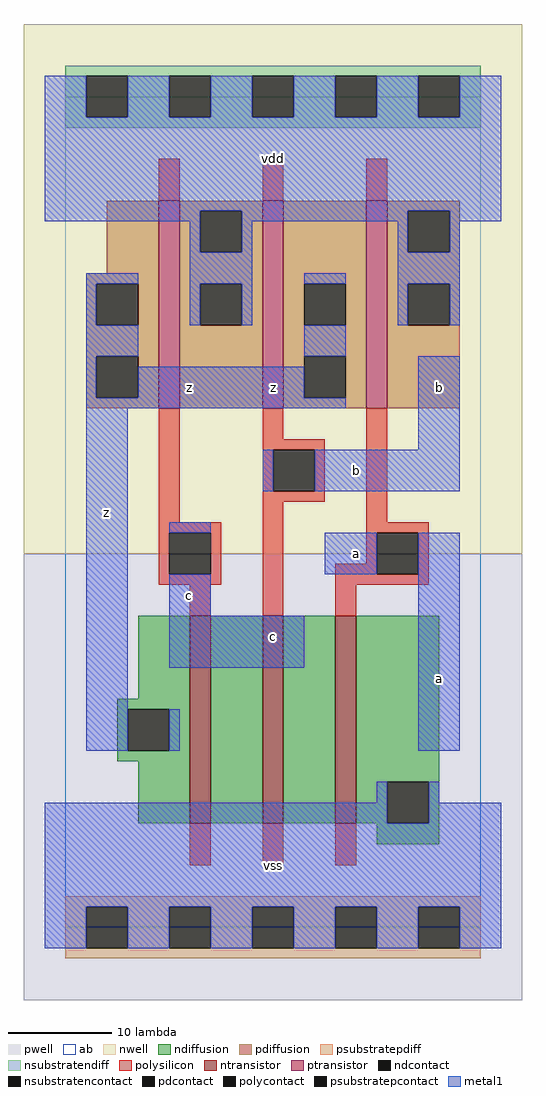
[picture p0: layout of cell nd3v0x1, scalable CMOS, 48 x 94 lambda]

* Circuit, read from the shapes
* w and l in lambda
.subckt nd3v0x1 a b c vdd vss z
M1 n1 c z vss nfet w=20 l=2
M2 n2 b n1 vss nfet w=20 l=2
M3 vss a n2 vss nfet w=20 l=2
M4 vdd c z vdd pfet w=20 l=2
M5 z b vdd vdd pfet w=20 l=2
M6 vdd a z vdd pfet w=20 l=2
.ends

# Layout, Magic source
magic
tech scmos
<< ab >>
rect 0 0 40 80
<< pwell >>
rect -4 -7 44 36
<< nwell >>
rect -4 36 44 87
<< polysilicon >>
rect 9 70 11 74
rect 19 70 21 74
rect 29 70 31 74
rect 9 39 11 50
rect 19 47 21 50
rect 19 46 25 47
rect 19 42 20 46
rect 24 42 25 46
rect 19 41 25 42
rect 9 38 15 39
rect 9 34 10 38
rect 14 34 15 38
rect 9 33 15 34
rect 12 30 14 33
rect 19 30 21 41
rect 29 39 31 50
rect 29 38 35 39
rect 29 35 30 38
rect 26 34 30 35
rect 34 34 35 38
rect 26 33 35 34
rect 26 30 28 33
rect 12 6 14 10
rect 19 6 21 10
rect 26 6 28 10
<< ndiffusion >>
rect 7 22 12 30
rect 5 21 12 22
rect 5 17 6 21
rect 10 17 12 21
rect 5 16 12 17
rect 7 10 12 16
rect 14 10 19 30
rect 21 10 26 30
rect 28 14 36 30
rect 28 10 31 14
rect 35 10 36 14
rect 30 8 36 10
<< pdiffusion >>
rect 4 63 9 70
rect 2 62 9 63
rect 2 58 3 62
rect 7 58 9 62
rect 2 55 9 58
rect 2 51 3 55
rect 7 51 9 55
rect 2 50 9 51
rect 11 69 19 70
rect 11 65 13 69
rect 17 65 19 69
rect 11 62 19 65
rect 11 58 13 62
rect 17 58 19 62
rect 11 50 19 58
rect 21 62 29 70
rect 21 58 23 62
rect 27 58 29 62
rect 21 55 29 58
rect 21 51 23 55
rect 27 51 29 55
rect 21 50 29 51
rect 31 69 38 70
rect 31 65 33 69
rect 37 65 38 69
rect 31 62 38 65
rect 31 58 33 62
rect 37 58 38 62
rect 31 50 38 58
<< metal1 >>
rect -2 78 2 82
rect 6 78 10 82
rect 14 78 18 82
rect 22 78 26 82
rect 30 78 34 82
rect 38 78 42 82
rect -2 69 42 78
rect -2 68 13 69
rect 12 65 13 68
rect 17 68 33 69
rect 17 65 18 68
rect 2 62 7 63
rect 2 58 3 62
rect 12 62 18 65
rect 32 65 33 68
rect 37 68 42 69
rect 37 65 38 68
rect 12 58 13 62
rect 17 58 18 62
rect 23 62 27 63
rect 32 62 38 65
rect 32 58 33 62
rect 37 58 38 62
rect 2 55 7 58
rect 2 51 3 55
rect 23 55 27 58
rect 7 51 23 54
rect 2 50 27 51
rect 2 17 6 50
rect 34 46 38 55
rect 19 42 20 46
rect 24 42 38 46
rect 10 38 14 39
rect 25 34 30 38
rect 10 30 14 34
rect 10 25 23 30
rect 10 17 11 21
rect 34 17 38 38
rect 30 12 31 14
rect -2 10 31 12
rect 35 12 36 14
rect 35 10 42 12
rect -2 2 42 10
rect -2 -2 2 2
rect 6 -2 10 2
rect 14 -2 18 2
rect 22 -2 26 2
rect 30 -2 34 2
rect 38 -2 42 2
<< ntransistor >>
rect 12 10 14 30
rect 19 10 21 30
rect 26 10 28 30
<< ptransistor >>
rect 9 50 11 70
rect 19 50 21 70
rect 29 50 31 70
<< polycontact >>
rect 20 42 24 46
rect 10 34 14 38
rect 30 34 34 38
<< ndcontact >>
rect 6 17 10 21
rect 31 10 35 14
<< pdcontact >>
rect 3 58 7 62
rect 3 51 7 55
rect 13 65 17 69
rect 13 58 17 62
rect 23 58 27 62
rect 23 51 27 55
rect 33 65 37 69
rect 33 58 37 62
<< psubstratepcontact >>
rect 2 -2 6 2
rect 10 -2 14 2
rect 18 -2 22 2
rect 26 -2 30 2
rect 34 -2 38 2
<< nsubstratencontact >>
rect 2 78 6 82
rect 10 78 14 82
rect 18 78 22 82
rect 26 78 30 82
rect 34 78 38 82
<< psubstratepdiff >>
rect 0 2 40 3
rect 0 -2 2 2
rect 6 -2 10 2
rect 14 -2 18 2
rect 22 -2 26 2
rect 30 -2 34 2
rect 38 -2 40 2
rect 0 -3 40 -2
<< nsubstratendiff >>
rect 0 82 40 83
rect 0 78 2 82
rect 6 78 10 82
rect 14 78 18 82
rect 22 78 26 82
rect 30 78 34 82
rect 38 78 40 82
rect 0 77 40 78
<< labels >>
rlabel metal1 4 40 4 40 6 z
rlabel metal1 12 32 12 32 6 c
rlabel metal1 12 52 12 52 6 z
rlabel metal1 20 6 20 6 6 vss
rlabel metal1 20 28 20 28 6 c
rlabel metal1 28 36 28 36 6 a
rlabel metal1 28 44 28 44 6 b
rlabel metal1 20 52 20 52 6 z
rlabel metal1 20 74 20 74 6 vdd
rlabel metal1 36 24 36 24 6 a
rlabel metal1 36 52 36 52 6 b
<< end >>
